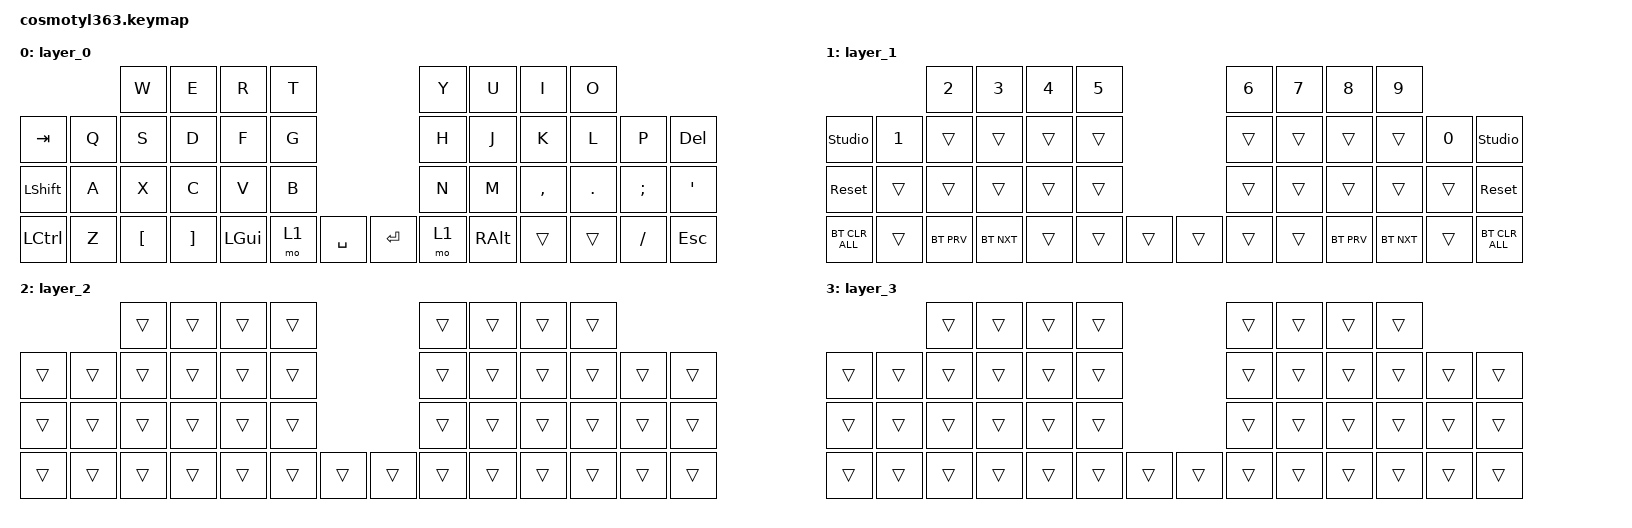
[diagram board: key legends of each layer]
/*
 * Copyright (c) 2024 Dmitrii Mozgovoi
 *
 * SPDX-License-Identifier: MIT
 */

#include <behaviors.dtsi>
#include <dt-bindings/zmk/bt.h>
#include <dt-bindings/zmk/keys.h>

/ {
    keymap {
        compatible = "zmk,keymap";

        layer_0 {
            bindings = <
                       &kp W             &kp E              &kp R         &kp T                      &kp Y  &kp U          &kp I      &kp O
&kp TAB         &kp Q  &kp S             &kp D              &kp F         &kp G                      &kp H  &kp J          &kp K      &kp L       &kp P          &kp DEL
&kp LEFT_SHIFT  &kp A  &kp X             &kp C              &kp V         &kp B                      &kp N  &kp M          &kp COMMA  &kp PERIOD  &kp SEMICOLON  &kp SQT
&kp LCTRL       &kp Z  &kp LEFT_BRACKET  &kp RIGHT_BRACKET  &kp LEFT_GUI  &mo 1  &kp SPACE  &kp RET  &mo 1  &kp RIGHT_ALT  &trans     &trans      &kp SLASH      &kp ESCAPE
            >;
        };

        layer_1 {
            bindings = <
                              &kp NUMBER_2  &kp NUMBER_3  &kp NUMBER_4  &kp N5                  &kp NUMBER_6  &kp N7  &kp N8      &kp N9
&studio_unlock  &kp NUMBER_1  &trans        &trans        &trans        &trans                  &trans        &trans  &trans      &trans      &kp N0  &studio_unlock
&sys_reset      &trans        &trans        &trans        &trans        &trans                  &trans        &trans  &trans      &trans      &trans  &sys_reset
&bt BT_CLR_ALL  &trans        &bt BT_PRV    &bt BT_NXT    &trans        &trans  &trans  &trans  &trans        &trans  &bt BT_PRV  &bt BT_NXT  &trans  &bt BT_CLR_ALL
            >;
        };

        layer_2 {
            bindings = <
                                &trans  &trans  &trans  &trans                  &trans  &trans  &trans  &trans
                &trans  &trans  &trans  &trans  &trans  &trans                  &trans  &trans  &trans  &trans  &trans  &trans
                &trans  &trans  &trans  &trans  &trans  &trans                  &trans  &trans  &trans  &trans  &trans  &trans
                &trans  &trans  &trans  &trans  &trans  &trans  &trans  &trans  &trans  &trans  &trans  &trans  &trans  &trans
            >;
        };

        layer_3 {
            bindings = <
                                &trans  &trans  &trans  &trans                  &trans  &trans  &trans  &trans
                &trans  &trans  &trans  &trans  &trans  &trans                  &trans  &trans  &trans  &trans  &trans  &trans
                &trans  &trans  &trans  &trans  &trans  &trans                  &trans  &trans  &trans  &trans  &trans  &trans
                &trans  &trans  &trans  &trans  &trans  &trans  &trans  &trans  &trans  &trans  &trans  &trans  &trans  &trans
            >;
        };
    };
};
